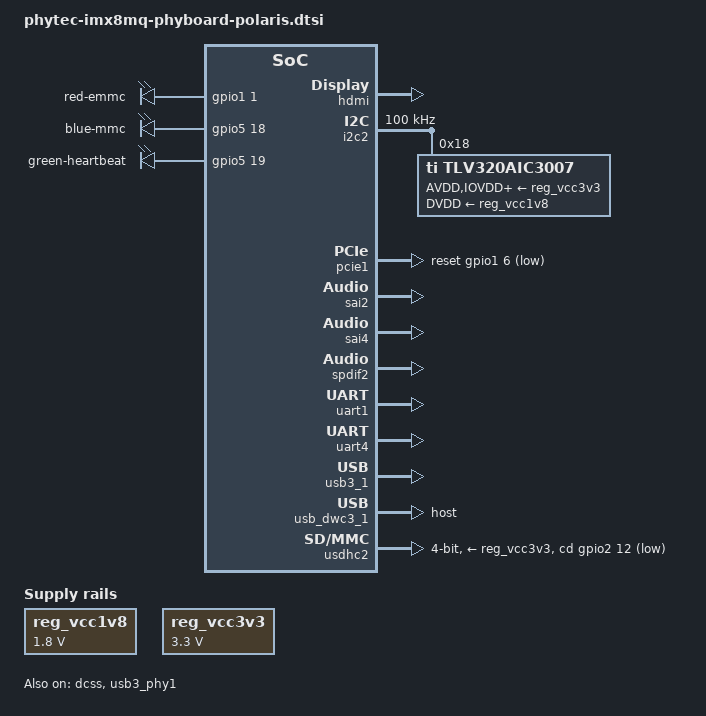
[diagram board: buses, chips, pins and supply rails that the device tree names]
/*
 * Copyright (C) 2018 PHYTEC Messtechnik GmbH
 * Author: Christian Hemp <c.hemp@phytec.de>
 *
 * This program is free software; you can redistribute it and/or
 * modify it under the terms of the GNU General Public License
 * as published by the Free Software Foundation; either version 2
 * of the License, or (at your option) any later version.
 *
 * This program is distributed in the hope that it will be useful,
 * but WITHOUT ANY WARRANTY; without even the implied warranty of
 * MERCHANTABILITY or FITNESS FOR A PARTICULAR PURPOSE.  See the
 * GNU General Public License for more details.
 */

/ {
	leds {
		compatible = "gpio-leds";
		pinctrl-names = "default";
		pinctrl-0 = <&pinctrl_leds>;

		led-red {
			label = "red-emmc";
			gpios = <&gpio1 1 GPIO_ACTIVE_HIGH>;
			linux,default-trigger = "mmc0";
		};

		led-blue {
			label = "blue-mmc";
			gpios = <&gpio5 18 GPIO_ACTIVE_HIGH>;
			linux,default-trigger = "mmc1";
		};

		led-green {
			label = "green-heartbeat";
			gpios = <&gpio5 19 GPIO_ACTIVE_HIGH>;
			linux,default-trigger = "heartbeat";
		};
	};

	reg_vcc1v8: vcc1v8 {
		compatible = "regulator-fixed";
		regulator-name = "vcc1v8";
		regulator-min-microvolt = <1800000>;
		regulator-max-microvolt = <1800000>;
		regulator-always-on;
	};

	reg_vcc3v3: vcc3v3 {
		compatible = "regulator-fixed";
		regulator-name = "vcc3v3";
		regulator-min-microvolt = <3300000>;
		regulator-max-microvolt = <3300000>;
		regulator-always-on;
	};

	sound {
		compatible = "simple-audio-card";
		simple-audio-card,name = "TLV320AIC3007";
		simple-audio-card,format = "i2s";
		simple-audio-card,bitclock-master = <&dailink_master>;
		simple-audio-card,frame-master = <&dailink_master>;
		simple-audio-card,widgets =
				"Microphone", "Mic Jack",
				"Line", "Line In",
				"Line", "Line Out",
				"Speaker", "Speaker",
				"Headphone", "Headphone Jack";
		simple-audio-card,routing =
				"Line Out", "LLOUT",
				"Line Out", "RLOUT",
				"Speaker", "SPOP",
				"Speaker", "SPOM",
				"Headphone Jack", "HPLOUT",
				"Headphone Jack", "HPROUT",
				"MIC3L", "Mic Jack",
				"MIC3R", "Mic Jack",
				"Mic Jack", "Mic Bias",
				"LINE1L", "Line In",
				"LINE1R", "Line In";
		status = "okay";

		dailink_master: simple-audio-card,cpu {
				sound-dai = <&sai2>;
		};
		simple-audio-card,codec {
				sound-dai = <&tlv320aic3007>;
		};
	};

	sound-hdmi {
		compatible = "fsl,imx8mq-evk-cdnhdmi",
				"fsl,imx-audio-cdnhdmi";
		model = "imx-audio-hdmi";
		audio-cpu = <&sai4>;
		protocol = <1>;
		hdmi-out;
		constraint-rate = <44100>,
				<88200>,
				<176400>,
				<32000>,
				<48000>,
				<96000>,
				<192000>;
	};

	sound-hdmi-arc {
		compatible = "fsl,imx-audio-spdif";
		model = "imx-hdmi-arc";
		spdif-controller = <&spdif2>;
		spdif-in;
	};
};

&clk {
	assigned-clocks = <&clk IMX8MQ_AUDIO_PLL1>, <&clk IMX8MQ_AUDIO_PLL2>;
	assigned-clock-rates = <786432000>, <722534400>;
};

&dcss {
	disp-dev = "hdmi_disp";
	status = "okay";
};

&hdmi {
	status = "okay";
};

&i2c2 {
	clock-frequency = <100000>;
	pinctrl-names = "default";
	pinctrl-0 = <&pinctrl_i2c2>;
	status = "okay";

	tlv320aic3007: tlv320aic3007@18 {
			compatible = "ti,tlv320aic3007";
			#sound-dai-cells = <0>;
			reg = <0x18>;
			clocks = <&clk IMX8MQ_SYS2_PLL_50M>;
			AVDD-supply = <&reg_vcc3v3>;
			IOVDD-supply = <&reg_vcc3v3>;
			DRVDD-supply = <&reg_vcc3v3>;
			DVDD-supply = <&reg_vcc1v8>;
	};

};

&pcie1 {
	pinctrl-names = "default";
	pinctrl-0 = <&pinctrl_pcie1>;
	clkreq-gpio = <&gpio4 2 GPIO_ACTIVE_LOW>;
	reset-gpio = <&gpio1 6 GPIO_ACTIVE_LOW>;
	ext_osc = <1>;
	status = "okay";
};

&sai2 {
	pinctrl-names = "default";
	#sound-dai-cells = <0>;
	pinctrl-0 = <&pinctrl_sai2>;
	assigned-clocks = <&clk IMX8MQ_CLK_SAI2>;
	assigned-clock-parents = <&clk IMX8MQ_AUDIO_PLL1_OUT>;
	assigned-clock-rates = <49152000>;
	clocks = <&clk IMX8MQ_CLK_SAI2_IPG>, <&clk IMX8MQ_CLK_DUMMY>,
		<&clk IMX8MQ_CLK_SAI2_ROOT>, <&clk IMX8MQ_CLK_DUMMY>,
		<&clk IMX8MQ_CLK_DUMMY>, <&clk IMX8MQ_AUDIO_PLL1_OUT>,
		<&clk IMX8MQ_AUDIO_PLL2_OUT>;
	clock-names = "bus", "mclk0", "mclk1", "mclk2", "mclk3", "pll8k", "pll11k";
	status = "okay";
};

&sai4 {
	assigned-clocks = <&clk IMX8MQ_CLK_SAI4>;
	assigned-clock-parents = <&clk IMX8MQ_AUDIO_PLL1_OUT>;
	assigned-clock-rates = <24576000>;
	clocks = <&clk IMX8MQ_CLK_SAI4_IPG>, <&clk IMX8MQ_CLK_DUMMY>,
		<&clk IMX8MQ_CLK_SAI4_ROOT>, <&clk IMX8MQ_CLK_DUMMY>,
		<&clk IMX8MQ_CLK_DUMMY>, <&clk IMX8MQ_AUDIO_PLL1_OUT>,
		<&clk IMX8MQ_AUDIO_PLL2_OUT>;
	clock-names = "bus", "mclk0", "mclk1", "mclk2", "mclk3", "pll8k", "pll11k";
	status = "okay";
};

&spdif2 {
	assigned-clocks = <&clk IMX8MQ_CLK_SPDIF2>;
	assigned-clock-parents = <&clk IMX8MQ_AUDIO_PLL1_OUT>;
	assigned-clock-rates = <24576000>;
	status = "okay";
};

&uart1 {
	pinctrl-names = "default";
	pinctrl-0 = <&pinctrl_uart1>;
	assigned-clocks = <&clk IMX8MQ_CLK_UART1>;
	assigned-clock-parents = <&clk IMX8MQ_CLK_25M>;
	status = "okay";
};

&uart4 {
	pinctrl-names = "default";
	pinctrl-0 = <&pinctrl_uart4>;
	status = "okay";
};

&usb3_phy1 {
	status = "okay";
};

&usb3_1 {
	status = "okay";
};

&usb_dwc3_1 {
	status = "okay";
	dr_mode = "host";
};

&usdhc2 {
	pinctrl-names = "default", "state_100mhz", "state_200mhz";
	pinctrl-0 = <&pinctrl_usdhc2>, <&pinctrl_usdhc2_gpio>;
	pinctrl-1 = <&pinctrl_usdhc2_100mhz>, <&pinctrl_usdhc2_gpio>;
	pinctrl-2 = <&pinctrl_usdhc2_200mhz>, <&pinctrl_usdhc2_gpio>;
	bus-width = <4>;
	cd-gpios = <&gpio2 12 GPIO_ACTIVE_LOW>;
	vmmc-supply = <&reg_vcc3v3>;
	status = "okay";
};

&iomuxc {
	imx8mq-polaris {
		pinctrl_i2c2: i2c2grp {
			fsl,pins = <
				MX8MQ_IOMUXC_I2C2_SCL_I2C2_SCL		0x4000007f
				MX8MQ_IOMUXC_I2C2_SDA_I2C2_SDA		0x4000007f
			>;
		};

		pinctrl_leds: leds1grp {
			fsl,pins = <
				MX8MQ_IOMUXC_GPIO1_IO01_GPIO1_IO1	0x16
				MX8MQ_IOMUXC_I2C3_SCL_GPIO5_IO18	0x16
				MX8MQ_IOMUXC_I2C3_SDA_GPIO5_IO19	0x16
			>;
		};

		pinctrl_pcie1: pcie1grp {
			fsl,pins = <
				MX8MQ_IOMUXC_SAI1_RXD0_GPIO4_IO2	0x16
				MX8MQ_IOMUXC_GPIO1_IO06_GPIO1_IO6	0x16
			>;
		};

		pinctrl_sai2: sai2grp {
			fsl,pins = <
				MX8MQ_IOMUXC_SAI2_MCLK_SAI2_MCLK	0xd6
				MX8MQ_IOMUXC_SAI2_TXFS_SAI2_TX_SYNC	0xd6
				MX8MQ_IOMUXC_SAI2_TXC_SAI2_TX_BCLK	0xd6
				MX8MQ_IOMUXC_SAI2_TXD0_SAI2_TX_DATA0	0xd6
				MX8MQ_IOMUXC_SAI2_RXFS_SAI2_RX_SYNC	0xd6
				MX8MQ_IOMUXC_SAI2_RXC_SAI2_RX_BCLK	0xd6
				MX8MQ_IOMUXC_SAI2_RXD0_SAI2_RX_DATA0	0xd6
			>;
		};

		pinctrl_uart1: uart1grp {
			fsl,pins = <
				MX8MQ_IOMUXC_UART1_RXD_UART1_DCE_RX	0x49
				MX8MQ_IOMUXC_UART1_TXD_UART1_DCE_TX	0x49
			>;
		};

		pinctrl_uart4: uart4grp {
			fsl,pins = <
				MX8MQ_IOMUXC_ECSPI2_MOSI_UART4_DCE_TX		0x49
				MX8MQ_IOMUXC_ECSPI2_SCLK_UART4_DCE_RX		0x49
				MX8MQ_IOMUXC_ECSPI2_SS0_UART4_DCE_RTS_B		0x49
				MX8MQ_IOMUXC_ECSPI2_MISO_UART4_DCE_CTS_B	0x49
			>;
		};

		pinctrl_usdhc2_gpio: usdhc2grpgpio {
			fsl,pins = <
				MX8MQ_IOMUXC_SD2_CD_B_GPIO2_IO12	0x41
			>;
		};

		pinctrl_usdhc2: usdhc2grp {
			fsl,pins = <
				MX8MQ_IOMUXC_SD2_CLK_USDHC2_CLK		0x83
				MX8MQ_IOMUXC_SD2_CMD_USDHC2_CMD		0xc3
				MX8MQ_IOMUXC_SD2_DATA0_USDHC2_DATA0	0xc3
				MX8MQ_IOMUXC_SD2_DATA1_USDHC2_DATA1	0xc3
				MX8MQ_IOMUXC_SD2_DATA2_USDHC2_DATA2	0xc3
				MX8MQ_IOMUXC_SD2_DATA3_USDHC2_DATA3	0xc3
				MX8MQ_IOMUXC_GPIO1_IO04_USDHC2_VSELECT	0xc1
			>;
		};

		pinctrl_usdhc2_100mhz: usdhc2grp100mhz {
			fsl,pins = <
				MX8MQ_IOMUXC_SD2_CLK_USDHC2_CLK		0x8d
				MX8MQ_IOMUXC_SD2_CMD_USDHC2_CMD		0xcf
				MX8MQ_IOMUXC_SD2_DATA0_USDHC2_DATA0	0xcf
				MX8MQ_IOMUXC_SD2_DATA1_USDHC2_DATA1	0xcf
				MX8MQ_IOMUXC_SD2_DATA2_USDHC2_DATA2	0xcf
				MX8MQ_IOMUXC_SD2_DATA3_USDHC2_DATA3	0xcf
				MX8MQ_IOMUXC_GPIO1_IO04_USDHC2_VSELECT	0xc1
			>;
		};

		pinctrl_usdhc2_200mhz: usdhc2grp200mhz {
			fsl,pins = <
				MX8MQ_IOMUXC_SD2_CLK_USDHC2_CLK		0x9f
				MX8MQ_IOMUXC_SD2_CMD_USDHC2_CMD		0xdf
				MX8MQ_IOMUXC_SD2_DATA0_USDHC2_DATA0	0xdf
				MX8MQ_IOMUXC_SD2_DATA1_USDHC2_DATA1	0xdf
				MX8MQ_IOMUXC_SD2_DATA2_USDHC2_DATA2	0xdf
				MX8MQ_IOMUXC_SD2_DATA3_USDHC2_DATA3	0xdf
				MX8MQ_IOMUXC_GPIO1_IO04_USDHC2_VSELECT	0xc1
			>;
		};
	};
};
